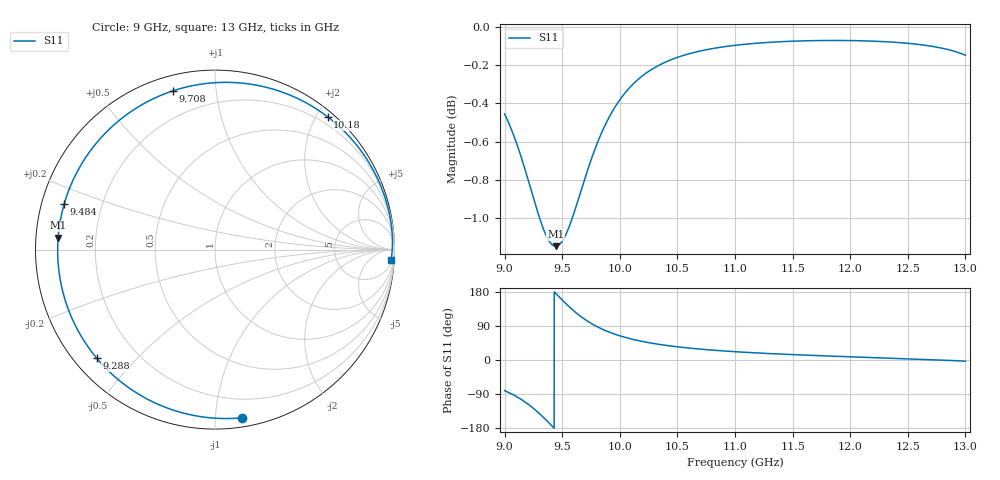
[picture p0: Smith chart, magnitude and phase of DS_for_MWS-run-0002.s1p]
! TOUCHSTONE file generated by CST DESIGN STUDIO
! Date and time: Tue Feb  4 18:42:32 2025
! Project name: C:\Work\MatlabApps\UnitCellOptimizationMatlab\CST\unitcell.cst
! Tree item: Tasks\Sweep1\SPara1\S-Parameters
! Header version: 2024
! Port assignment regex: !\s*Touchstone port\s*([0-9]+)\s*=\s*(CST MWS port|CST DES external port|CST DES block port)\s*(.+)\s* \(\"(.*)\"\)(\s*mode\s*([0-9]+))?.*
! Touchstone port assignment:
! Touchstone port 1 = CST DES external port 1 ("")
# GHz S MA R 50
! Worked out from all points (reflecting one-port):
!   4001 points, 9 GHz to 13 GHz, reference 50 ohm
!   lowest |S11| = -1.1 dB at 9.444 GHz (marker M1), VSWR 15.19, Z = 3.3 + j1.9 ohm
!   phase of S11 starts at -81 deg and turns -282 deg over the sweep
!   S11 on the Smith chart (normalised r, x): 9 GHz: 0.06, -1.17; 9.288 GHz: 0.06, -0.39; 9.484 GHz: 0.07, +0.15; 9.708 GHz: 0.07, +0.77; 10.18 GHz: 0.09, +2.16; 13 GHz: 10, -33
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9  0.949 -80.8
9.088  0.9352 -93.9
9.16  0.9214 -107.2
9.226  0.9074 -121.7
9.288  0.8944 -137.5
9.371  0.8808 -161.6
9.408  0.8775 -173.1
9.444  0.8765 175.6
9.484  0.8778 163.2
9.5  0.879 158.3
9.553  0.8856 142.6
9.603  0.8943 129.0
9.654  0.9043 116.6
9.708  0.915 104.9
9.774  0.9273 92.7
9.852  0.9397 80.7
9.924  0.9491 71.7
10  0.9571 63.8
10.087  0.9642 56.4
10.184  0.9703 49.7
10.329  0.9768 41.8
10.5  0.9818 34.8
10.723  0.9859 28.0
11  0.9889 21.9
11.5  0.9914 14.2
12  0.9918 8.5
12.5  0.9901 3.3
13  0.9831 -3.2
